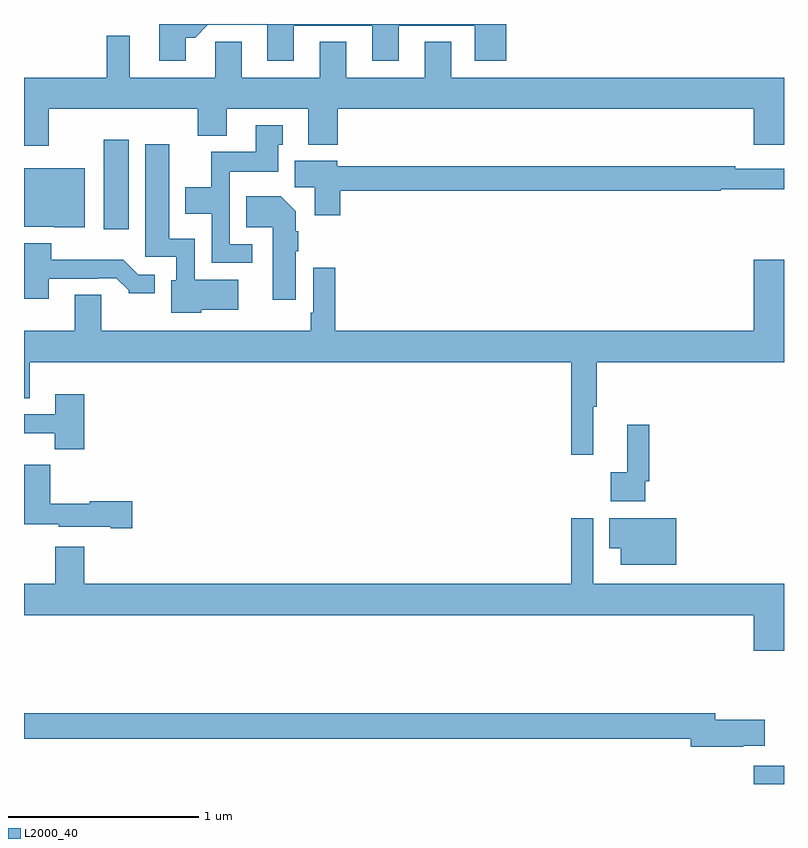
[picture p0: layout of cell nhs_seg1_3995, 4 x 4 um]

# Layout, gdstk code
import gdstk
lib = gdstk.Library(unit=1e-6, precision=1e-09)
def R(c, l, rs):  # rectangles x0, y0, x1, y1
    for r in rs: c.add(gdstk.rectangle(r[:2], r[2:], *l))
def P(c, l, *ps):  # polygons
    for p in ps: c.add(gdstk.Polygon(p, *l))
L2000_40 = (2000, 40)

nhs_seg1_3995 = lib.new_cell('nhs_seg1_3995')
R(nhs_seg1_3995, L2000_40, [(332.84,528.199,333,528.295), (329.42,531.12,329.551,531.589)])
P(nhs_seg1_3995, L2000_40, [(329.851,532.127),(329.9,532.127),(329.967,532.194),(330.281,532.194),(330.281,532.005),(330.421,532.005),(330.421,532.191),(330.833,532.191),(330.833,532.005),(330.973,532.005),(330.973,532.191),(331.373,532.191),(331.373,532.005),(331.538,532.005),(331.538,532.199),(329.711,532.199),(329.711,532.005),(329.851,532.005)],
  [(329.131,531.752),(329.915,531.752),(329.915,531.611),(330.067,531.611),(330.067,531.752),(330.497,531.752),(330.497,531.563),(330.65,531.563),(330.65,531.752),(332.84,531.752),(332.84,531.564),(333,531.564),(333,531.916),(331.249,531.916),(331.249,532.106),(331.109,532.106),(331.109,531.916),(330.697,531.916),(330.697,532.106),(330.557,532.106),(330.557,531.916),(330.145,531.916),(330.145,532.106),(330.006,532.106),(330.006,531.916),(329.557,531.916),(329.557,532.138),(329.436,532.138),(329.436,531.916),(329,531.916),(329,531.558),(329.131,531.558)],
  [(330.202,531.039),(330.084,531.039),(330.084,531.422),(330.337,531.422),(330.337,531.564),(330.361,531.564),(330.361,531.667),(330.221,531.667),(330.221,531.526),(329.986,531.526),(329.986,531.34),(329.849,531.34),(329.849,531.2),(329.988,531.2),(329.988,530.943),(330.202,530.943)],
  [(329.934,530.696),(330.127,530.696),(330.127,530.854),(329.898,530.854),(329.898,531.07),(329.764,531.07),(329.764,531.565),(329.639,531.565),(329.639,530.973),(329.802,530.973),(329.802,530.85),(329.774,530.85),(329.774,530.678),(329.934,530.678)],
  [(330.665,531.322),(332.666,531.322),(332.666,531.33),(333,531.33),(333,531.438),(332.744,531.438),(332.744,531.451),(330.648,531.451),(330.648,531.478),(330.425,531.478),(330.425,531.34),(330.53,531.34),(330.53,531.192),(330.665,531.192)],
  [(329.32,531.439),(329,531.439),(329,531.131),(329.16,531.131),(329.16,531.128),(329.32,531.128)],
  [(330.43,531.004),(330.443,531.004),(330.443,531.107),(330.43,531.107),(330.43,531.214),(330.352,531.292),(330.169,531.292),(330.169,531.128),(330.308,531.128),(330.308,530.748),(330.43,530.748)],
  [(329.131,530.859),(329.387,530.859),(329.387,530.862),(329.486,530.862),(329.55,530.798),(329.55,530.783),(329.689,530.783),(329.689,530.88),(329.601,530.88),(329.523,530.959),(329.144,530.959),(329.144,531.046),(329,531.046),(329,530.754),(329.131,530.754)],
  [(331.879,529.932),(331.997,529.932),(331.997,530.184),(332.015,530.184),(332.015,530.42),(333,530.42),(333,530.959),(332.84,530.959),(332.84,530.584),(330.638,530.584),(330.638,530.917),(330.522,530.917),(330.522,530.68),(330.51,530.68),(330.51,530.584),(329.407,530.584),(329.407,530.774),(329.267,530.774),(329.267,530.584),(329,530.584),(329,530.23),(329.029,530.23),(329.029,530.42),(331.879,530.42)],
  [(329.318,530.251),(329.165,530.251),(329.165,530.145),(329,530.145),(329,530.046),(329.163,530.046),(329.163,529.961),(329.318,529.961)],
  [(332.271,529.792),(332.291,529.792),(332.291,530.089),(332.174,530.089),(332.174,529.841),(332.088,529.841),(332.088,529.688),(332.271,529.688)],
  [(329.569,529.688),(329.346,529.688),(329.346,529.675),(329.138,529.675),(329.138,529.879),(329,529.879),(329,529.565),(329.184,529.565),(329.184,529.553),(329.456,529.553),(329.456,529.546),(329.569,529.546)],
  [(332.434,529.597),(332.08,529.597),(332.08,529.439),(332.141,529.439),(332.141,529.352),(332.434,529.352)],
  [(332.84,528.9),(333,528.9),(333,529.252),(331.995,529.252),(331.995,529.597),(331.879,529.597),(331.879,529.252),(329.318,529.252),(329.318,529.447),(329.165,529.447),(329.165,529.252),(329,529.252),(329,529.088),(332.84,529.088)],
  [(332.786,528.401),(332.899,528.401),(332.899,528.536),(332.638,528.536),(332.638,528.572),(329,528.572),(329,528.436),(332.51,528.436),(332.51,528.394),(332.786,528.394)])

lib.write_gds('nhs_seg1_3995.gds')
